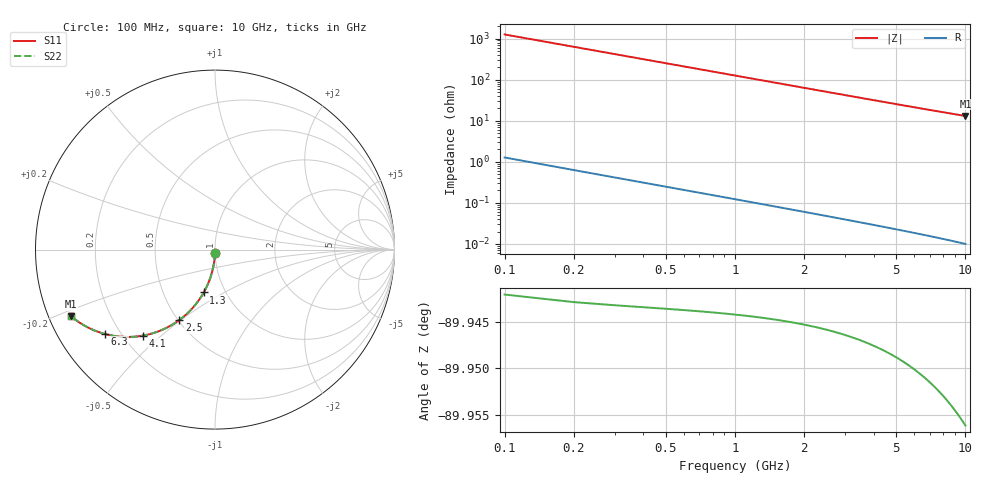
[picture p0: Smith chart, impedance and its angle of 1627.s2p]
# Hz S RI R 50.00
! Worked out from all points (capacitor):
!   100 points, 100 MHz to 10 GHz, reference 50 ohm
!   read as one part in shunt: C = 1.26 pF near 100 MHz
!   lowest |Z| = 13 ohm at 10 GHz (marker M1)
!   S11 on the Smith chart (normalised r, x): 100 MHz: 1.00, -0.04; 1.3 GHz: 0.79, -0.40; 2.5 GHz: 0.51, -0.49; 4.1 GHz: 0.28, -0.44; 6.3 GHz: 0.14, -0.33; 10 GHz: 0.06, -0.22
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1e8  -0.000296 -0.0196  0.9995 -0.0201  0.9995 -0.0201  -0.000296 -0.0196
2e8  -0.00149 -0.0391  0.9983 -0.0401  0.9983 -0.0401  -0.00149 -0.0391
3e8  -0.00347 -0.0585  0.9963 -0.0601  0.9963 -0.0601  -0.00347 -0.0585
4e8  -0.00622 -0.0778  0.9935 -0.0799  0.9935 -0.0799  -0.00622 -0.0778
5e8  -0.00972 -0.0969  0.99 -0.0995  0.99 -0.0995  -0.00972 -0.0969
6e8  -0.014 -0.1158  0.9858 -0.1189  0.9858 -0.1189  -0.014 -0.1158
8e8  -0.0246 -0.1528  0.9751 -0.1568  0.9751 -0.1568  -0.0246 -0.1528
1e9  -0.0379 -0.1883  0.9618 -0.1934  0.9618 -0.1934  -0.0379 -0.1883
1.3e9  -0.0625 -0.2385  0.9372 -0.2451  0.9372 -0.2451  -0.0625 -0.2385
1.5e9  -0.0815 -0.2695  0.9182 -0.2772  0.9182 -0.2772  -0.0815 -0.2695
1.8e9  -0.1133 -0.3121  0.8864 -0.3212  0.8864 -0.3212  -0.1133 -0.3121
2.1e9  -0.1482 -0.3496  0.8515 -0.3603  0.8515 -0.3603  -0.1482 -0.3496
2.5e9  -0.1978 -0.3916  0.8018 -0.4044  0.8018 -0.4044  -0.1978 -0.3916
2.9e9  -0.2493 -0.4248  0.7504 -0.4396  0.7504 -0.4396  -0.2493 -0.4248
3.4e9  -0.3135 -0.4548  0.6861 -0.4722  0.6861 -0.4722  -0.3135 -0.4548
4.1e9  -0.3994 -0.4788  0.6001 -0.4998  0.6001 -0.4998  -0.3994 -0.4788
5.1e9  -0.5077 -0.4863  0.4917 -0.5125  0.4917 -0.5125  -0.5077 -0.4863
6.3e9  -0.6123 -0.4703  0.3869 -0.5029  0.3869 -0.5029  -0.6123 -0.4703
6.7e9  -0.6414 -0.4616  0.3577 -0.4962  0.3577 -0.4962  -0.6414 -0.4616
7.5e9  -0.6921 -0.4414  0.3068 -0.4803  0.3068 -0.4803  -0.6921 -0.4414
8.4e9  -0.7389 -0.4165  0.2598 -0.4602  0.2598 -0.4602  -0.7389 -0.4165
1e10  -0.8017 -0.3713  0.1967 -0.4238  0.1967 -0.4238  -0.8017 -0.3713
